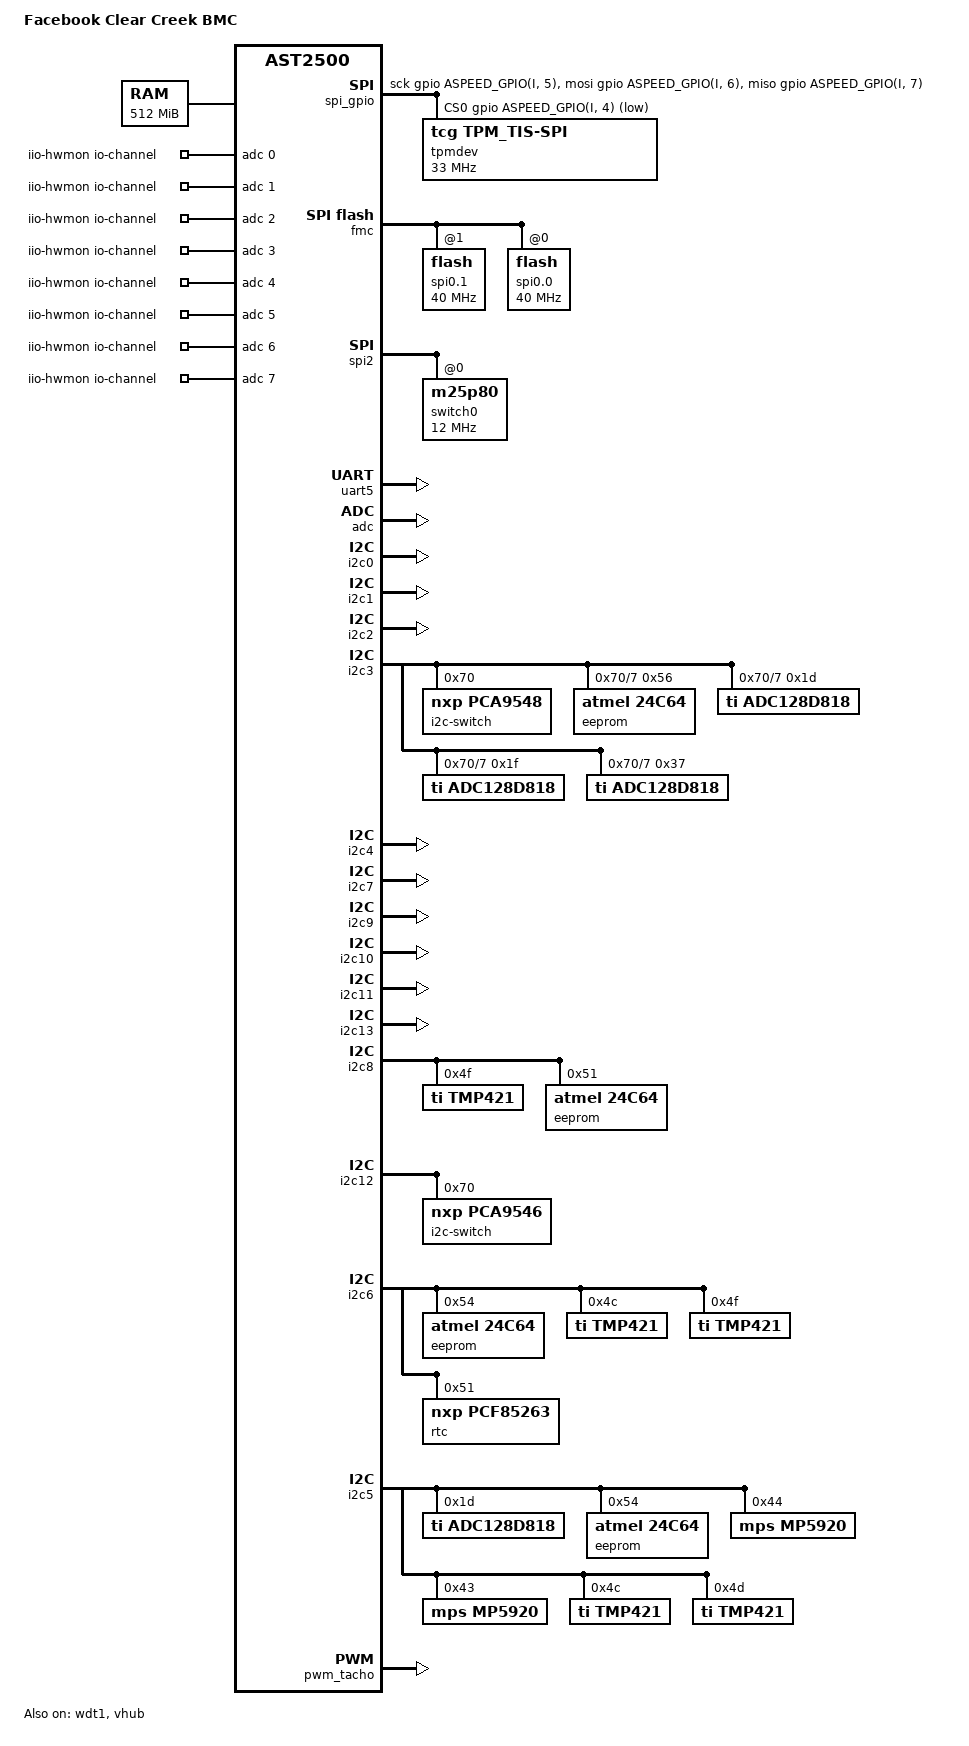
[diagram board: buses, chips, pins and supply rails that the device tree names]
// SPDX-License-Identifier: GPL-2.0+
// Copyright (c) 2018 Facebook Inc.
/dts-v1/;

#include "aspeed-g5.dtsi"
#include <dt-bindings/gpio/aspeed-gpio.h>

/ {
	model = "Facebook Clear Creek BMC";
	compatible = "facebook,clearcreek-bmc", "aspeed,ast2500";

	aliases {
		/*
		 * Override the default serial aliases to avoid breaking
		 * the legacy applications.
		 */
		serial0 = &uart5;
		serial1 = &uart1;

		i2c16 = &imux16;
		i2c17 = &imux17;
		i2c18 = &imux18;
		i2c19 = &imux19;
		i2c20 = &imux20;
		i2c21 = &imux21;
		i2c22 = &imux22;
		i2c23 = &imux23;
		i2c24 = &imux24;
		i2c25 = &imux25;
		i2c26 = &imux26;
		i2c27 = &imux27;
	};

	chosen {
		stdout-path = &uart5;
		bootargs = "debug console=ttyS4,57600n8 root=/dev/ram rw";
	};

	memory@80000000 {
		reg = <0x80000000 0x20000000>;
	};

	iio-hwmon {
		compatible = "iio-hwmon";
		io-channels = <&adc 0>, <&adc 1>, <&adc 2>, <&adc 3>,
					<&adc 4>, <&adc 5>, <&adc 6>,
					<&adc 7>, <&adc 8>;
	};

	spi_gpio: spi-gpio {
		status = "okay";
		compatible = "spi-gpio";
		#address-cells = <1>;
		#size-cells = <0>;

		gpio-sck = <&gpio ASPEED_GPIO(I, 5) GPIO_ACTIVE_HIGH>;
		gpio-mosi = <&gpio ASPEED_GPIO(I, 6) GPIO_ACTIVE_HIGH>;
		gpio-miso = <&gpio ASPEED_GPIO(I, 7) GPIO_ACTIVE_HIGH>;
		num-chipselects = <1>;
		cs-gpios = <&gpio ASPEED_GPIO(I, 4) GPIO_ACTIVE_LOW>;

		tpmdev@0 {
			compatible = "tcg,tpm_tis-spi";
			spi-max-frequency = <33000000>;
			reg = <0>;
		};
	};
};

&wdt1 {
	status = "okay";
	pinctrl-names = "default";
	pinctrl-0 = <&pinctrl_wdtrst1_default>;
	aspeed,reset-type = "soc";
	aspeed,external-signal;
	aspeed,ext-push-pull;
	aspeed,ext-active-high;
	aspeed,ext-pulse-duration = <256>;
};

&fmc {
	status = "okay";
	flash@0 {
		reg = < 1 >;
		status = "okay";
		m25p,fast-read;
		label = "spi0.1";
		spi-max-frequency = <40000000>;
#include "facebook-bmc-vboot2-flash1-layout.dtsi"
	};
	flash@1 {
		reg = < 0 >;
		status = "okay";
		m25p,fast-read;
		label = "spi0.0";
		spi-max-frequency = <40000000>;
#include "facebook-bmc-vboot2-flash0-layout.dtsi"
	};
};

&spi2 {
	status = "okay";
	compatible = "aspeed,ast2500-spi-master";
	pinctrl-names = "default";
	pinctrl-0 = <&pinctrl_spi2ck_default &pinctrl_spi2cs0_default &pinctrl_spi2miso_default &pinctrl_spi2mosi_default>;

	flash@0 {
		status = "okay";
		compatible = "m25p80", "jedec,spi-nor";
		m25p,fast-read;
		unuse-fsr;
		spi-max-frequency = <12000000>;
		label = "switch0";
	};
};

&uart5 {
	// BMC Console
	status = "okay";
};

&adc {
	status = "okay";
};

&i2c0 {
	status = "okay";
};

&i2c1 {
	status = "okay";
};

&i2c2 {
	status = "okay";
};

&i2c3 {
	status = "okay";
	i2c-switch@70 {
		compatible = "nxp,pca9548";
		#address-cells = <1>;
		#size-cells = <0>;
		reg = <0x70>;
		imux16: i2c@0 {
			#address-cells = <1>;
			#size-cells = <0>;
			reg = <0>;
		};
		imux17: i2c@1 {
			#address-cells = <1>;
			#size-cells = <0>;
			reg = <1>;
		};
		imux18: i2c@2 {
			#address-cells = <1>;
			#size-cells = <0>;
			reg = <2>;
		};
		imux19: i2c@3 {
			#address-cells = <1>;
			#size-cells = <0>;
			reg = <3>;
		};
		imux20: i2c@4 {
			#address-cells = <1>;
			#size-cells = <0>;
			reg = <4>;
		};
		imux21: i2c@5 {
			#address-cells = <1>;
			#size-cells = <0>;
			reg = <5>;
		};
		imux22: i2c@6 {
			#address-cells = <1>;
			#size-cells = <0>;
			reg = <6>;
		};
		imux23: i2c@7 {
			#address-cells = <1>;
			#size-cells = <0>;
			reg = <7>;
			// BSM FRUID
			eeprom@56 {
				compatible = "atmel,24c64";
				reg = <0x56>;
			};
			adc128d818@1d {
				compatible = "ti,adc128d818";
				reg = <0x1d>;
				ti,mode = /bits/ 8 <1>;
			};
			adc128d818@1f {
				compatible = "ti,adc128d818";
				reg = <0x1f>;
				ti,mode = /bits/ 8 <1>;
			};
			adc128d818@37 {
				compatible = "ti,adc128d818";
				reg = <0x37>;
				ti,mode = /bits/ 8 <1>;
			};
		};
	};
};

&i2c4 {
	status = "okay";
};

&i2c7 {
	status = "okay";
};

&i2c9 {
	status = "okay";
};

&i2c10 {
	status = "okay";
};

&i2c11 {
	status = "okay";
};

&i2c13 {
	status = "okay";
};

&i2c3 {
	status = "okay";
};

&i2c8 {
	multi-master;
	aspeed,hw-timeout-ms = <1000>;
	status = "okay";
	tmp421@4f {
		compatible = "ti,tmp421";
		reg = <0x4f>;
	};
	eeprom@51 {
		compatible = "atmel,24c64";
		reg = <0x51>;
	};
};

&i2c12 {
	status = "okay";
	i2c-switch@70 {
		compatible = "nxp,pca9546";
		#address-cells = <1>;
		#size-cells = <0>;
		reg = <0x70>;
		imux24: i2c@0 {
			#address-cells = <1>;
			#size-cells = <0>;
			reg = <0>;
		};
		imux25: i2c@1 {
			#address-cells = <1>;
			#size-cells = <0>;
			reg = <1>;
		};
		imux26: i2c@2 {
			#address-cells = <1>;
			#size-cells = <0>;
			reg = <2>;
		};
		imux27: i2c@3 {
			#address-cells = <1>;
			#size-cells = <0>;
			reg = <3>;
		};
	};
};

&i2c6 {
	status = "okay";
	// Baseboard FRUID
	eeprom@54 {
		compatible = "atmel,24c64";
		reg = <0x54>;
	};
	tmp421@4c {
		compatible = "ti,tmp421";
		reg = <0x4c>;
	};
	tmp421@4f {
		compatible = "ti,tmp421";
		reg = <0x4f>;
	};
	// RTC
	rtc@51 {
		compatible = "nxp,pcf85263";
		reg = <0x51>;
	};
};

&i2c5 {
	status = "okay";
	//ADC128 for monitoring fan voltage/current
	adc128d818@1d {
		compatible = "ti,adc128d818";
		reg = <0x1d>;
		ti,mode = /bits/ 8 <1>;
	};
	// PDB FRUID
	eeprom@54 {
		compatible = "atmel,24c64";
		reg = <0x54>;
	};

	mp5920@0x44 {
		compatible = "mps,mp5920";
		reg = <0x44>;
	};
	mp5920@0x43 {
		compatible = "mps,mp5920";
		reg = <0x43>;
	};
	tmp421@4c {
		compatible = "ti,tmp421";
		reg = <0x4c>;
	};
	tmp421@4d {
		compatible = "ti,tmp421";
		reg = <0x4d>;
	};
};

&pwm_tacho {
	status = "okay";
	pinctrl-names = "default";
	pinctrl-0 = <&pinctrl_pwm0_default &pinctrl_pwm1_default &pinctrl_pwm2_default &pinctrl_pwm3_default>;
	fan@0 {
		reg = <0x00>;
		aspeed,fan-tach-ch = /bits/ 8 <0x00 0x01>;
		aspeed,pwm-typem-tach-mode = /bits/ 8 <0x00>;
		aspeed,pwm-typem-tach-unit = /bits/ 16 <0x08CA>;
		aspeed,pwm-typem-tach-clk-div = /bits/ 8 <0x00>;
	};

	fan@1 {
		reg = <0x01>;
		aspeed,fan-tach-ch = /bits/ 8 <0x02 0x03>;
		aspeed,pwm-typem-tach-mode = /bits/ 8 <0x00>;
		aspeed,pwm-typem-tach-unit = /bits/ 16 <0x08CA>;
		aspeed,pwm-typem-tach-clk-div = /bits/ 8 <0x00>;
	};

	fan@2 {
		reg = <0x02>;
		aspeed,fan-tach-ch = /bits/ 8 <0x04 0x05>;
		aspeed,pwm-typem-tach-mode = /bits/ 8 <0x00>;
		aspeed,pwm-typem-tach-unit = /bits/ 16 <0x08CA>;
		aspeed,pwm-typem-tach-clk-div = /bits/ 8 <0x00>;
	};

	fan@3 {
		reg = <0x03>;
		aspeed,fan-tach-ch = /bits/ 8 <0x06 0x07>;
		aspeed,pwm-typem-tach-mode = /bits/ 8 <0x00>;
		aspeed,pwm-typem-tach-unit = /bits/ 16 <0x08CA>;
		aspeed,pwm-typem-tach-clk-div = /bits/ 8 <0x00>;
	};
};

&vhub {
	status = "okay";
};

&gpio {
	aspeed,skip-init-cmdsrc;
};
